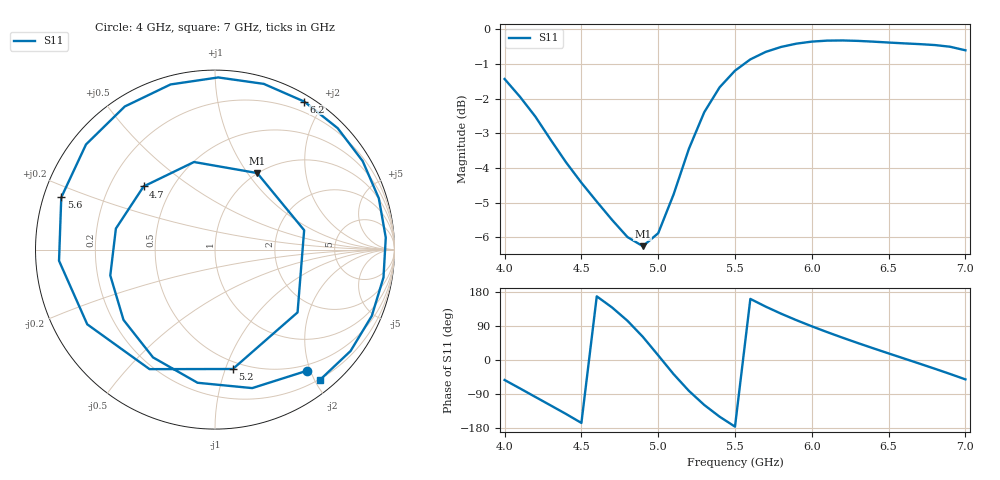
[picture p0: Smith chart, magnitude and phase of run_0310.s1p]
! Touchstone file exported from HFSS 2024.2.0
!  File:  C:/Users/wsak9/Desktop/Sim Fast/Widenad Patch/WP_AI_V1_sweep.aedt
!  Generated:  04:07:23 AM Oct 14, 2026
!  Design:  A1_model
!  Project:  WP_AI_V1_sweep
!  Setup:  Setup1
!  Solution:  Sweep
! Variables:
!  Air_gap = 4.72mm
!  Curve_Amp1 = 1.39
!  Curve_len1 = 1
!  Curve_pos = 12.3mm
!  Extra = 4.4mm
!  H_sub = 0.79mm
!  L_Patch = 20.6mm
!  L_Patch1 = 20mm
!  Sx = 3.21mm
!  Sy = 3.31mm
!  WS = 1.24mm
!  W_Patch = 14.5mm
!  W_Patch1 = 15.6mm
!Data is not renormalized
# GHz S MA
! Terminal data exported
! Port[1] = 1
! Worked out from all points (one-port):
!   31 points, 4 GHz to 7 GHz, reference per port
!   lowest |S11| = -6.3 dB at 4.9 GHz (marker M1), VSWR 2.90
!   |S11| at or under -10 dB: nowhere
!   S11 on the Smith chart (normalised r, x): 4 GHz: 0.41, -1.95; 4.7 GHz: 0.35, +0.34; 5.2 GHz: 0.44, -1.06; 5.6 GHz: 0.05, +0.16; 6.2 GHz: 0.08, +1.77; 7 GHz: 0.19, -2.08
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4  0.8475 -52.8
4.1  0.799 -75.0
4.2  0.7483 -97.5
4.3  0.6928 -119.9
4.4  0.643 -142.5
4.5  0.6009 -166.1
4.6  0.5645 168.0
4.7  0.5311 138.5
4.8  0.5018 103.5
4.9  0.4869 61.1
5  0.5083 12.3
5.1  0.5779 -37.3
5.2  0.6726 -81.5
5.3  0.7593 -118.7
5.4  0.8246 -149.7
5.5  0.8712 -175.9
5.6  0.9045 161.2
5.7  0.9272 140.8
5.8  0.9426 122.2
5.9  0.9529 105.1
6  0.9593 88.9
6.1  0.9625 73.6
6.2  0.963 58.9
6.3  0.9617 44.7
6.5  0.9564 17.4
6.7  0.9514 -9.4
6.8  0.9485 -22.9
7  0.9321 -51.1
